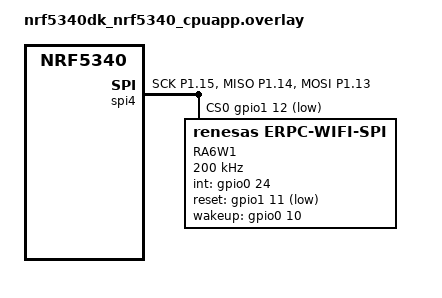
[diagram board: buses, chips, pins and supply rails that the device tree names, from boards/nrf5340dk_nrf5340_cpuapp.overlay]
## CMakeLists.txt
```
cmake_minimum_required(VERSION 3.13.1)

find_package(Zephyr REQUIRED HINTS $ENV{ZEPHYR_BASE})

project(app)

target_sources(app PRIVATE
	${CMAKE_CURRENT_SOURCE_DIR}/src/shell.c
	${CMAKE_CURRENT_SOURCE_DIR}/src/tcp.c
)

include(${CMAKE_CURRENT_SOURCE_DIR}/config/CMakeLists.txt)
```

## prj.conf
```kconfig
CONFIG_LOG=y
CONFIG_LOG_MODE_DEFERRED=y
CONFIG_LOG_BUFFER_SIZE=65536
CONFIG_LOG_BACKEND_UART=n

CONFIG_SHELL=y
CONFIG_SHELL_STACK_SIZE=8192
CONFIG_NET_SHELL=y
CONFIG_REBOOT=y
CONFIG_SHELL_LOG_BACKEND=y

CONFIG_WIFI=y
CONFIG_NET_L2_WIFI_MGMT=y
CONFIG_NET_IPV4=y
CONFIG_NET_TCP=y
CONFIG_DNS_RESOLVER=y
CONFIG_DNS_RESOLVER_AUTO_INIT=y
# Synchronous getaddrinfo() uses this as its DNS query timeout. The default
# (2000 ms) is too short for a DPM cold-wake + eRPC/SPI + network round-trip
# (~2.4 s), which cancels the in-flight query (DNS_EAI_CANCELED = -101) just
# before the reply arrives. Give it enough budget to cover the cold wake.
CONFIG_NET_SOCKETS_DNS_TIMEOUT=10000
# Retry within that budget instead of a single long attempt.
CONFIG_NET_SOCKETS_DNS_BACKOFF_INTERVAL=5000

CONFIG_NETWORKING=y
CONFIG_NET_MGMT_EVENT_STACK_SIZE=4096
CONFIG_ZVFS_POLL_MAX=16
CONFIG_HTTP_CLIENT=y

CONFIG_TLS_CREDENTIALS=y
CONFIG_NET_SOCKETS_SOCKOPT_TLS=y
CONFIG_MBEDTLS=y
CONFIG_MBEDTLS_ENABLE_HEAP=y
CONFIG_MBEDTLS_HEAP_SIZE=32768
CONFIG_MBEDTLS_ECP_C=y
CONFIG_MBEDTLS_ECDH_C=y
CONFIG_MBEDTLS_ECDSA_C=y
CONFIG_MBEDTLS_ECP_DP_SECP256R1_ENABLED=y
CONFIG_MBEDTLS_KEY_EXCHANGE_ECDHE_ECDSA_ENABLED=y
CONFIG_MBEDTLS_CIPHER_AES_ENABLED=y
CONFIG_MBEDTLS_CIPHER_GCM_ENABLED=y
CONFIG_MBEDTLS_SHA256=y
CONFIG_MBEDTLS_SERVER_NAME_INDICATION=y
# Also bounds the TLS handshake; 3 s default is too short over eRPC/SPI offload.
CONFIG_NET_SOCKETS_CONNECT_TIMEOUT=30000

CONFIG_NET_IPV6=n
CONFIG_HEAP_MEM_POOL_SIZE=65536
CONFIG_NET_CONFIG_AUTO_INIT=n

CONFIG_NET_ZPERF=y
CONFIG_NET_ZPERF_SERVER=y
CONFIG_NET_CONFIG_LOG_LEVEL_DBG=y
CONFIG_WORKQUEUE_WORK_TIMEOUT=y
CONFIG_MAIN_STACK_SIZE=8192
CONFIG_ERPC_DATA_PATH=y
CONFIG_ENTROPY_GENERATOR=y
```

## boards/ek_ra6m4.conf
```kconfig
CONFIG_SPI_INTERRUPT=y
```

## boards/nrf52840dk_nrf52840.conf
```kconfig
CONFIG_TEST_RANDOM_GENERATOR=y
CONFIG_MAIN_STACK_SIZE=4096

CONFIG_SHELL=y
CONFIG_SERIAL=y
CONFIG_CONSOLE=y
CONFIG_UART_CONSOLE=y
CONFIG_PRINTK=y
CONFIG_LOG=y

# # Enable Device PM to suspend Nordic SPIM EasyDMA during DPM
# CONFIG_PM_DEVICE=y
# CONFIG_PM_DEVICE_RUNTIME=y
```

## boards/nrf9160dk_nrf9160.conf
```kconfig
CONFIG_TEST_RANDOM_GENERATOR=y
CONFIG_MAIN_STACK_SIZE=4096

CONFIG_SHELL=y
CONFIG_SERIAL=y
CONFIG_CONSOLE=y
CONFIG_UART_CONSOLE=y
CONFIG_PRINTK=y
CONFIG_LOG=y
```

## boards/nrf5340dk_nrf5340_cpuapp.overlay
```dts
/*
 * Copyright (c) 2025 Renesas Electronics Corporation
 *
 * SPDX-License-Identifier: Apache-2.0
 */

/delete-node/ &qspi;
/delete-node/ &uart1;

/* Disable NFC so P0.09 and P0.10 can be used as GPIOs */
&nfct {
    status = "disabled";
};

/ {
    chosen {
        /delete-property/ zephyr,wifi;
	};
};

&pinctrl {
    spi4_default: spi4_default {
        group1 {
            psels = <NRF_PSEL(SPIM_SCK, 1, 15)>,
                    <NRF_PSEL(SPIM_MISO, 1, 14)>,
                    <NRF_PSEL(SPIM_MOSI, 1, 13)>;
       
        };
    };
    spi4_sleep: spi4_sleep {
        group1 {
            psels = <NRF_PSEL(SPIM_SCK, 1, 15)>,
                    <NRF_PSEL(SPIM_MISO, 1, 14)>,
                    <NRF_PSEL(SPIM_MOSI, 1, 13)>;
           
            low-power-enable;
        };
    };
};

&spi4 {
    compatible = "nordic,nrf-spim";
    status = "okay";
    cs-gpios = <&gpio1 12 (GPIO_ACTIVE_LOW)>;
 
    pinctrl-0 = <&spi4_default>;
    pinctrl-1 = <&spi4_sleep>;
    pinctrl-names = "default", "sleep";
 
    ra6w1_erpc_wifi: ra6w1_erpc_wifi@0 {
        compatible = "renesas,erpc-wifi-spi";
        reg = <0>;
        label = "RA6W1";
        spi-max-frequency = <200000>;
        int-gpios = <&gpio0 24 (GPIO_ACTIVE_HIGH | GPIO_PULL_DOWN)>;
        reset-gpios = <&gpio1 11 GPIO_ACTIVE_LOW>;
        wakeup-gpios = <&gpio0 10 GPIO_ACTIVE_HIGH>;
        status = "okay";
    };
};
```

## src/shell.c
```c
#include <zephyr/logging/log.h>
#include <zephyr/net/net_if.h>
#include <zephyr/net/wifi_mgmt.h>
#include <zephyr/shell/shell.h>
#include <zephyr/device.h>
#include <zephyr/drivers/gpio.h>

#include "utils_iface.h"
#include "utils_dns.h"
#include "utils_http.h"
#include "utils_iconfig.h"
#include "env_config.h"

LOG_MODULE_REGISTER(nt_shell, LOG_LEVEL_DBG);

static int cmd_connect(const struct shell *shell, size_t argc, char **argv)
{
	const char *ssid;
	const char *psk;

	if (argc == 1) {
		shell_print(shell, "Connecting with default SSID and PSK from env_config.h");
		ssid = NULL;
		psk = NULL;
	} else if (argc == 3) {
		ssid = argv[1];
		psk = argv[2];
	} else {
		shell_error(shell, "Usage: wifi connect [SSID] [PSK]");
		return -1;
	}
	iface_ensure_up();
	iface_connect(ssid, psk, 40000);
	return 0;
}

static int cmd_disconnect(const struct shell *shell, size_t argc, char **argv)
{
	iface_disconnect();
	return 0;
}

static int cmd_status(const struct shell *shell, size_t argc, char **argv)
{
	iface_status();
	return 0;
}

static int cmd_ver(const struct shell *shell, size_t argc, char **argv)
{
	int ret;
	struct wifi_version fw_version = {0,};

	ret = iface_get_version(&fw_version);
	if (ret != 0) {
		shell_error(shell, "Failed to get WiFi version: %d", ret);
		return -1;
	}
	LOG_INF("WiFi driver/firmware version: [%s/%s]",
		fw_version.drv_version ? fw_version.drv_version : "N/A",
		fw_version.fw_version ? fw_version.fw_version : "N/A");
	return 0;
}

static int cmd_ps(const struct shell *shell, size_t argc, char **argv)
{
	if (strcmp(argv[1], "cfg") == 0) {
		if (iface_ps_config() != 0) {
			shell_error(shell, "Failed to configure power save");
			return -1;
		}
		shell_print(shell, "Power save configured");
		return 0;
	}

	if (strcmp(argv[1], "on") == 0 || strcmp(argv[1], "off") == 0) {
		bool enable = (strcmp(argv[1], "on") == 0);
		if (iface_ps(enable) != 0) {
			shell_error(shell, "Failed to set power save mode");
			return -1;
		}
		shell_print(shell, "Power save %s", enable ? "enabled" : "disabled");
		return 0;
	}


	shell_error(shell, "Usage: wifi ps <cfg|on|off>");
	return -1;
}

static int cmd_resolve(const struct shell *shell, size_t argc, char **argv)
{
	const char *hostname;
	struct in_addr results[4];
	int results_cnt;

	if (argc == 1) {
		shell_error(shell, "Usage: wifi resolve <hostname>");
		return -1;
	}

	hostname = argv[1];
	results_cnt = dns_resolve(hostname, results, ARRAY_SIZE(results));
	if (results_cnt <= 0) {
		shell_error(shell, "Failed to resolve %s", hostname);
		return -1;
	}

	shell_print(shell, "%s:", hostname);
	for (size_t i = 0; i < results_cnt; i++) {
		char hr_addr[NET_IPV4_ADDR_LEN];
		net_addr_ntop(AF_INET, &results[i], hr_addr, sizeof(hr_addr));
		shell_print(shell, "A: %s", hr_addr);
	}
	return 0;
}

#define DT_DRV_COMPAT renesas_erpc_wifi_spi
static int cmd_reset_float(const struct shell *shell, size_t argc, char **argv)
{
#if defined(CONFIG_DT_HAS_RENESAS_ERPC_WIFI_SPI_ENABLED)
	const struct gpio_dt_spec wifi_reset = GPIO_DT_SPEC_GET(DT_DRV_INST(0), reset_gpios);
	ARG_UNUSED(argc);
	ARG_UNUSED(argv);

	if (!device_is_ready(wifi_reset.port)) {
		printk("WiFi reset pin not ready\n");
		return 0;
	}

	int ret = gpio_pin_configure_dt(&wifi_reset, GPIO_INPUT);
	printk("WiFi reset pin float ret: %d\n", ret);
	return 0;
#else
	printk("No reset on this hw\n");
	return -1;
#endif
}

static int cmd_wifi_regulator(const struct shell *shell, size_t argc, char **argv)
{
#if defined(CONFIG_DT_HAS_RENESAS_ERPC_WIFI_SPI_ENABLED)
	const struct gpio_dt_spec wifi_reg = GPIO_DT_SPEC_GET_OR(DT_NODELABEL(wifi_enable), gpios, {});
	int enable = (strcmp(argv[1], "on") == 0);

	if (!device_is_ready(wifi_reg.port)) {
		printk("WiFi regulator pin not available\n");
		return 0;
	}

	int ret = gpio_pin_configure_dt(&wifi_reg, GPIO_OUTPUT);
	ret = gpio_pin_set_dt(&wifi_reg, !enable);

	printk("WiFi regulator pin float ret: %d\n", ret);
	return 0;
#else
	printk("No wifi regulator on this hw\n");
	return -1;
#endif
}


static int cmd_http_get(const struct shell *shell, size_t argc, char **argv)
{
	utils_http_get("www.google.com", 80, "/");
	return 0;
}

static int cmd_https_get(const struct shell *shell, size_t argc, char **argv)
{
	utils_https_get("www.google.com", 443, "/", NULL, 0, NULL, 0, NULL, 0, NULL, 0);
	return 0;
}

static int cmd_iconfig_fetch(const struct shell *shell, size_t argc, char **argv)
{
	return utils_iconfig_fetch();
}

SHELL_STATIC_SUBCMD_SET_CREATE(nt_subcmds,
		SHELL_CMD_ARG(ver, NULL, "Version",
			cmd_ver, 1, 0),
		SHELL_CMD_ARG(connect, NULL, "Connect",
			cmd_connect, 1, 2),
		SHELL_CMD_ARG(disconnect, NULL, "Disconnect",
			cmd_disconnect, 1, 0),
		SHELL_CMD_ARG(status, NULL, "Interface status",
			cmd_status, 1, 0),
		SHELL_CMD_ARG(ps, NULL, "Power Save",
			cmd_ps, 2, 0),
		SHELL_CMD_ARG(reset_float, NULL, "Reset float",
			cmd_reset_float, 1, 0),
		SHELL_CMD_ARG(regulator, NULL, "Control wifi regulator",
			cmd_wifi_regulator, 2, 0),
		SHELL_CMD_ARG(disconnect, NULL, "Disconnect",
			cmd_disconnect, 1, 0),
		SHELL_CMD_ARG(resolve, NULL, "DNS resolve",
			cmd_resolve, 1, 2),
		SHELL_CMD_ARG(http_get, NULL, "HTTP GET",
			cmd_http_get, 1, 0),
		SHELL_CMD_ARG(https_get, NULL, "HTTPS GET",
			cmd_https_get, 1, 0),
		SHELL_CMD_ARG(iconfig_fetch, NULL, "Fetch iconfig",
			cmd_iconfig_fetch, 1, 0),
		SHELL_SUBCMD_SET_END);

SHELL_CMD_REGISTER(nt, &nt_subcmds,
		"nt commands", NULL);
```

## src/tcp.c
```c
#include <zephyr/kernel.h>
#include <zephyr/shell/shell.h>
#include <zephyr/net/socket.h>
#include <zephyr/net/http/client.h>
#include <zephyr/logging/log.h>
#include <fcntl.h>

#include "utils_iface.h"
#include "utils_tcp.h"
#include "env_config.h"

LOG_MODULE_REGISTER(tcp, LOG_LEVEL_DBG);

static const char *echo_payload ="HELLO";

static struct ctx {
	int sock;
	int echo_interval_s;
	int64_t last_echo_tx;
} ctx = { .sock = -1 };

static int cmd_tcp_close(const struct shell *shell, size_t argc, char **argv)
{
	if (ctx.sock >= 0) {
		tcp_close(ctx.sock);
	}
	ctx.sock = -1;
	return 0;
}

static int connect_common(const struct shell *shell, size_t argc, char **argv, tcp_rx_cb_t rx_cb)
{
	const char *host;
	int port;

	if (ctx.sock != -1) {
		shell_error(shell, "TCP connection already established");
		return -EALREADY;
	}

	if (argc == 1) {
		shell_print(shell, "Using default echo server");
		host = ENV_ECHO_SERVER_IP;
		port = ENV_ECHO_SERVER_PORT;
	} else if (argc >= 3) {
		host = argv[1];
		port = atoi(argv[2]);
	}
	else {
		shell_error(shell, "Invalid arguments");
		return -EINVAL;
	}

	ctx.sock = tcp_connect(rx_cb, host, port);
	return ctx.sock;
}

static void generic_rx(const char *data, int len)
{
	LOG_INF("Generic RX data [%.*s]", len, data);
}

static int cmd_tcp_connect(const struct shell *shell, size_t argc, char **argv)
{
	connect_common(shell, argc, argv, generic_rx);
	return 0;
}

static void echo_tx_handler(struct k_work *work);
K_WORK_DELAYABLE_DEFINE(echo_tx_work, echo_tx_handler);

static void echo_rx(const char *data, int len)
{
	int64_t now = k_uptime_get();
	int64_t rtt = now - ctx.last_echo_tx;
	LOG_INF("Echo RTT: %" PRId64 " ms", rtt);
	LOG_INF("Echo RX data [%.*s]", len, data);
}

static void echo_tx_handler(struct k_work *work)
{
	if (ctx.sock == -1) {
		return;
	}
	ctx.last_echo_tx = k_uptime_get();
	k_work_schedule(&echo_tx_work, K_SECONDS(ctx.echo_interval_s));
	zsock_send(ctx.sock, echo_payload, strlen(echo_payload), 0);
}

static int cmd_tcp_connect_echo(const struct shell *shell, size_t argc, char **argv)
{
	int interval;

	if (argc == 1) {
		interval = ENV_ECHO_INTERVAL_S;
	} else if (argc == 4) {
		interval = atoi(argv[3]);
	} else {
		shell_error(shell, "Invalid arguments");
		return -EINVAL;
	}

	connect_common(shell, argc, argv, echo_rx);

	ctx.echo_interval_s = interval;
	shell_print(shell, "Echo every %d seconds", ctx.echo_interval_s);
	k_work_schedule(&echo_tx_work, K_SECONDS(1));
	return 0;
}

static int cmd_tcp_tx(const struct shell *shell, size_t argc, char **argv)
{
	if (ctx.sock == -1) {
		shell_error(shell, "No active TCP connection");
		return -ENOTCONN;
	}

	const char *data = argv[1];
	int len = strlen(data);
	int ret = zsock_send(ctx.sock, data, len, 0);
	if (ret < 0) {
		shell_error(shell, "Failed to send data (%d)", errno);
		return -errno;
	}

	shell_print(shell, "Sent %d bytes", ret);
	return 0;
}

SHELL_STATIC_SUBCMD_SET_CREATE(tcp_subcmds,
		SHELL_CMD_ARG(connect_echo, NULL, "Connect to server <host> <port> and echo at interval",
			cmd_tcp_connect_echo, 1, 3),
		SHELL_CMD_ARG(connect, NULL, "Connect to server <host> <port>",
			cmd_tcp_connect, 1, 2),
		SHELL_CMD_ARG(tx, NULL, "Send some data",
			cmd_tcp_tx, 2, 0),
		SHELL_CMD_ARG(close, NULL, "Close the current TCP connection",
			cmd_tcp_close, 1, 0),
		SHELL_SUBCMD_SET_END);

SHELL_CMD_REGISTER(tcp, &tcp_subcmds,
	"tcp commands", NULL);
```
